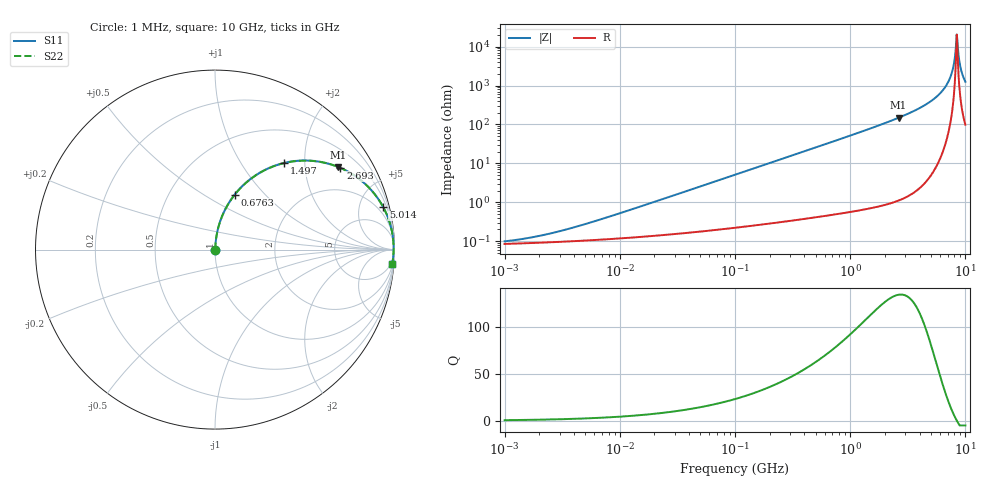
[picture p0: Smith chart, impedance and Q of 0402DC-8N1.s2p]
# MHz  S  MA  R  50
!Freq  MagS11  AngS11  MagS21  AngS21  MagS12  AngS12  MagS22  AngS22
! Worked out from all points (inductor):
!   801 points, 1 MHz to 10 GHz, reference 50 ohm
!   read as one part in series: L = 8.1 nH near 6.383 MHz
!   highest Q = 134 at 2.631 GHz (marker M1), where L = 8.97 nH
!   self-resonance near 8.418 GHz
!   S11 on the Smith chart (normalised r, x): 1 MHz: 1.00, +0.00; 676.3 MHz: 1.01, +0.69; 1.497 GHz: 1.01, +1.57; 2.693 GHz: 1.02, +3.05; 5.014 GHz: 1.10, +7.90; 10 GHz: 3, -25
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1  0.0009907 30.9  0.9991 -0.0  0.9991 -0.0  0.0009907 30.9
2.06545  0.001394 48.8  0.9991 -0.1  0.9991 -0.1  0.001394 48.8
4.67769  0.00259 66.5  0.999 -0.1  0.999 -0.1  0.00259 66.5
21.6303  0.01108 82.1  0.9985 -0.6  0.9985 -0.6  0.01108 82.1
100.0216  0.05078 84.6  0.9965 -2.9  0.9965 -2.9  0.05078 84.6
467.8699  0.2315 75.7  0.969 -13.4  0.969 -13.4  0.2315 75.7
676.2895  0.326 70.2  0.941 -19.0  0.941 -19.0  0.326 70.2
1496.748  0.6156 51.5  0.7826 -38.0  0.7826 -38.0  0.6156 51.5
2163.497  0.7597 40.1  0.6445 -49.4  0.6445 -49.4  0.7597 40.1
2631.239  0.8264 33.8  0.557 -55.7  0.557 -55.7  0.8264 33.8
2692.531  0.8336 33.1  0.5462 -56.5  0.5462 -56.5  0.8336 33.1
3803.363  0.9221 22.3  0.3794 -67.2  0.3794 -67.2  0.9221 22.3
5013.874  0.9665 14.2  0.2448 -75.1  0.2448 -75.1  0.9665 14.2
6168.472  0.9859 8.4  0.146 -80.3  0.146 -80.3  0.9859 8.4
7082.399  0.9929 4.7  0.08118 -82.6  0.08118 -82.6  0.9929 4.7
7676.832  0.9948 2.5  0.04374 -82.0  0.04374 -82.0  0.9948 2.5
8131.735  0.9953 1.0  0.01741 -73.8  0.01741 -73.8  0.9953 1.0
8417.515  0.9952 0.0  0.004858 -9.2  0.004858 -9.2  0.9952 0.0
8713.339  0.9948 -0.9  0.01605 70.8  0.01605 70.8  0.9948 -0.9
9019.56  0.9942 -1.8  0.03169 78.6  0.03169 78.6  0.9942 -1.8
9336.542  0.9933 -2.7  0.04758 80.5  0.04758 80.5  0.9933 -2.7
10000  0.9906 -4.5  0.07935 80.9  0.07935 80.9  0.9906 -4.5
